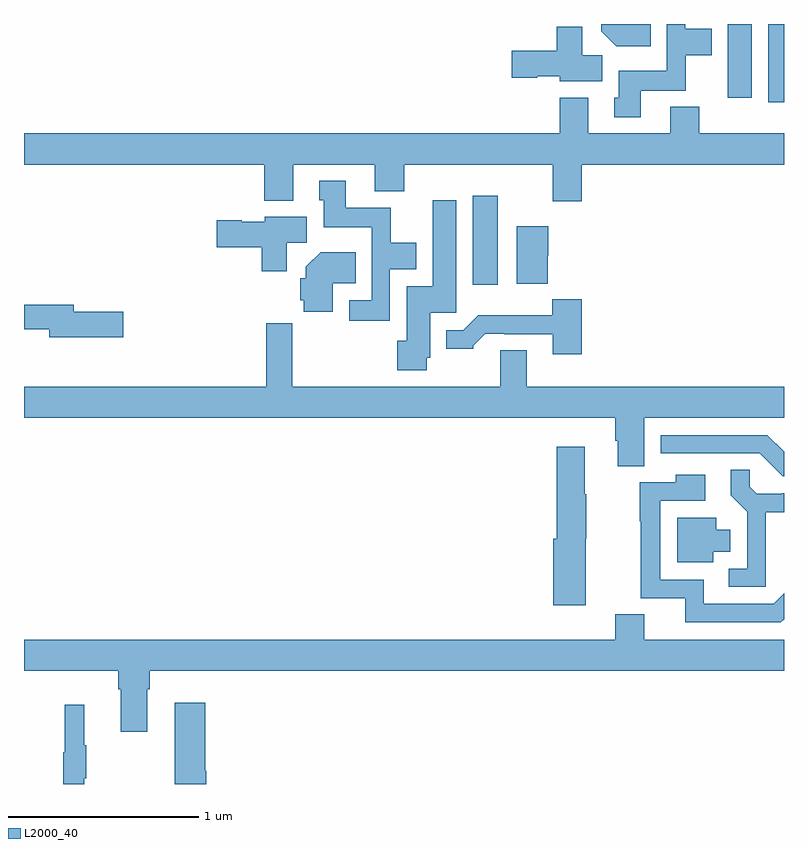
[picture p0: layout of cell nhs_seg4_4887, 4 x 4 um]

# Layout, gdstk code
import gdstk
lib = gdstk.Library(unit=1e-6, precision=1e-09)
def R(c, l, rs):  # rectangles x0, y0, x1, y1
    for r in rs: c.add(gdstk.rectangle(r[:2], r[2:], *l))
def P(c, l, *ps):  # polygons
    for p in ps: c.add(gdstk.Polygon(p, *l))
L2000_40 = (2000, 40)

nhs_seg4_4887 = lib.new_cell('nhs_seg4_4887')
R(nhs_seg4_4887, L2000_40, [(377.363,789.528,377.494,789.997), (378.917,790.488,379,790.9), (378.704,790.512,378.829,790.9)])
P(nhs_seg4_4887, L2000_40, [(378.247,790.55),(378.483,790.55),(378.483,790.736),(378.619,790.736),(378.619,790.876),(378.48,790.876),(378.48,790.9),(378.384,790.9),(378.384,790.654),(378.131,790.654),(378.131,790.512),(378.107,790.512),(378.107,790.41),(378.247,790.41)],
  [(378.299,790.9),(378.038,790.9),(378.038,790.862),(378.116,790.784),(378.299,790.784)],
  [(378.043,790.736),(377.938,790.736),(377.938,790.885),(377.804,790.885),(377.804,790.76),(377.568,790.76),(377.568,790.618),(377.7,790.618),(377.7,790.625),(377.82,790.625),(377.82,790.598),(378.043,790.598)],
  [(375,790.16),(376.265,790.16),(376.265,789.971),(376.417,789.971),(376.417,790.16),(376.847,790.16),(376.847,790.019),(377,790.019),(377,790.16),(377.783,790.16),(377.783,789.966),(377.936,789.966),(377.936,790.16),(379,790.16),(379,790.324),(378.554,790.324),(378.554,790.465),(378.401,790.465),(378.401,790.324),(377.971,790.324),(377.971,790.513),(377.819,790.513),(377.819,790.324),(375,790.324)],
  [(376.926,789.608),(377.065,789.608),(377.065,789.748),(376.929,789.748),(376.929,789.934),(376.693,789.934),(376.693,790.075),(376.553,790.075),(376.553,789.972),(376.577,789.972),(376.577,789.83),(376.83,789.83),(376.83,789.447),(376.713,789.447),(376.713,789.339),(376.926,789.339)],
  [(377.121,789.144),(377.137,789.144),(377.137,789.381),(377.275,789.381),(377.275,789.973),(377.15,789.973),(377.15,789.52),(377.015,789.52),(377.015,789.234),(376.964,789.234),(376.964,789.078),(377.121,789.078)],
  [(376.383,789.748),(376.489,789.748),(376.489,789.886),(376.266,789.886),(376.266,789.859),(376.146,789.859),(376.146,789.867),(376.014,789.867),(376.014,789.725),(376.25,789.725),(376.25,789.6),(376.383,789.6)],
  [(377.756,789.681),(377.758,789.681),(377.758,789.835),(377.594,789.835),(377.594,789.533),(377.756,789.533)],
  [(376.624,789.536),(376.745,789.536),(376.745,789.7),(376.562,789.7),(376.484,789.622),(376.484,789.561),(376.455,789.561),(376.455,789.447),(376.472,789.447),(376.472,789.386),(376.624,789.386)],
  [(377.936,789.451),(377.781,789.451),(377.781,789.367),(377.392,789.367),(377.313,789.288),(377.222,789.288),(377.222,789.191),(377.364,789.191),(377.364,789.206),(377.428,789.27),(377.527,789.27),(377.527,789.267),(377.783,789.267),(377.783,789.162),(377.936,789.162)],
  [(375.523,789.386),(375.262,789.386),(375.262,789.422),(375,789.422),(375,789.294),(375.134,789.294),(375.134,789.251),(375.523,789.251)],
  [(378.265,788.828),(379,788.828),(379,788.992),(377.647,788.992),(377.647,789.182),(377.507,789.182),(377.507,788.992),(376.412,788.992),(376.412,789.325),(376.276,789.325),(376.276,788.992),(375,788.992),(375,788.828),(378.113,788.828),(378.113,788.706),(378.125,788.706),(378.125,788.572),(378.265,788.572)],
  [(379,788.648),(378.912,788.736),(378.35,788.736),(378.35,788.64),(378.873,788.64),(378.993,788.52),(379,788.52)],
  [(377.956,788.19),(377.958,788.19),(377.958,788.426),(377.95,788.426),(377.95,788.674),(377.804,788.674),(377.804,788.19),(377.786,788.19),(377.786,787.842),(377.956,787.842)],
  [(378.905,788.33),(379,788.33),(379,788.43),(378.99,788.43),(378.99,788.427),(378.856,788.427),(378.819,788.464),(378.819,788.555),(378.721,788.555),(378.721,788.419),(378.807,788.333),(378.807,788.034),(378.708,788.034),(378.708,787.938),(378.905,787.938)],
  [(379,787.768),(379,787.903),(378.945,787.848),(378.577,787.848),(378.577,787.974),(378.348,787.974),(378.348,788.391),(378.586,788.391),(378.586,788.527),(378.43,788.527),(378.43,788.487),(378.24,788.487),(378.24,788.284),(378.247,788.284),(378.247,787.878),(378.479,787.878),(378.479,787.752),(378.984,787.752)],
  [(378.628,788.123),(378.718,788.123),(378.718,788.239),(378.643,788.239),(378.643,788.302),(378.437,788.302),(378.437,788.066),(378.628,788.066)],
  [(375.649,787.4),(375.662,787.4),(375.662,787.496),(379,787.496),(379,787.66),(378.265,787.66),(378.265,787.793),(378.113,787.793),(378.113,787.66),(375,787.66),(375,787.496),(375.497,787.496),(375.497,787.4),(375.509,787.4),(375.509,787.176),(375.649,787.176)],
  [(375.958,786.969),(375.953,786.969),(375.953,787.327),(375.794,787.327),(375.794,786.9),(375.958,786.9)],
  [(375.317,786.931),(375.328,786.931),(375.328,787.105),(375.317,787.105),(375.317,787.318),(375.214,787.318),(375.214,787.068),(375.207,787.068),(375.207,786.9),(375.317,786.9)])

lib.write_gds('nhs_seg4_4887.gds')
